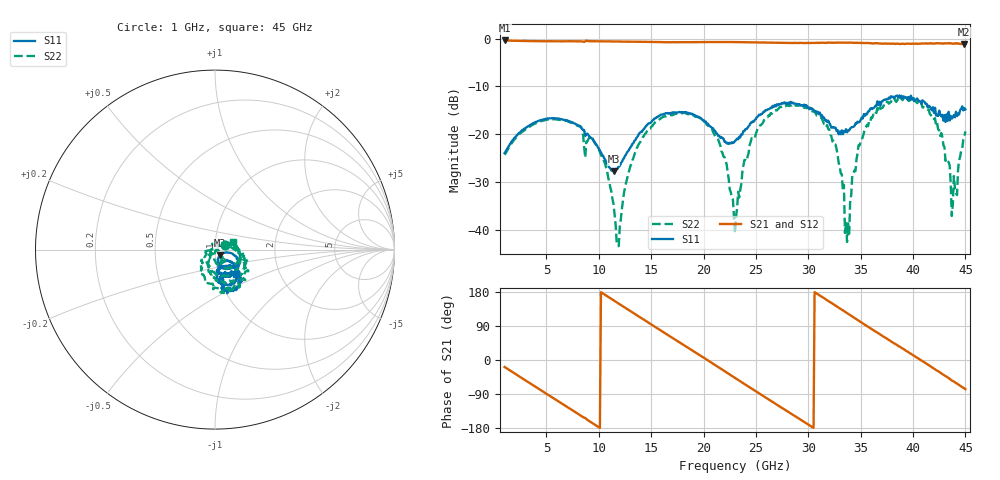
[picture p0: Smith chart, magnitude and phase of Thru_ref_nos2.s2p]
!Keysight Technologies,N5247B,MY61255062,A.19.80.06
!Date: Monday, May 18, 2026 12:27:11
!Correction: S11(Cdelta 2-Port  )
!S21(Cdelta 2-Port  )
!S12(Cdelta 2-Port  )
!S22(Cdelta 2-Port  )
!S2P File: Measurements: S11, S21, S12, S22:
# Hz S  dB  R 50
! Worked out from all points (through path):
!   441 points, 1 GHz to 45 GHz, reference 50 ohm
!   highest |S21| = -0.40 dB at 1 GHz (marker M1); lowest = -1.2 dB at 44.9 GHz (marker M2)
!   group delay of S21, straight-line fit = 49.1 ps
!   lowest |S11| = -27.7 dB at 11.4 GHz (marker M3), VSWR 1.09, Z = 52.8 - j3.15 ohm
!   |S11| at or under -10 dB: start of sweep to end of sweep
!   |S22| runs from -43.3 to -12.0 dB; largest |S21 - S12| = 0.015
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1e9  -23.89 25.6  -0.40 -18.4  -0.40 -18.4  -24.27 26.6
4.8e9  -16.85 -15.7  -0.57 -85.5  -0.57 -85.5  -17.07 -10.5
8.4e9  -18.88 -66.0  -0.60 -149.1  -0.60 -149.2  -18.91 -61.6
1.04e10  -24.47 -73.1  -0.58 175.4  -0.58 175.4  -25.00 -94.7
1.14e10  -27.73 -46.5  -0.61 157.6  -0.61 157.6  -34.55 -93.6
1.19e10  -26.63 -27.7  -0.63 148.7  -0.63 148.7  -43.35 -2.2
1.32e10  -22.04 -13.1  -0.66 125.9  -0.66 125.8  -25.45 27.0
1.57e10  -16.18 -31.5  -0.73 81.5  -0.73 81.5  -17.05 -10.3
1.84e10  -15.50 -62.7  -0.77 34.4  -0.76 34.4  -15.74 -56.6
2.06e10  -18.31 -79.1  -0.73 -4.4  -0.73 -4.4  -18.37 -100.3
2.2e10  -21.55 -70.3  -0.70 -29.3  -0.70 -29.3  -24.75 -134.4
2.3e10  -21.38 -50.3  -0.75 -47.3  -0.74 -47.3  -40.62 145.9
2.53e10  -15.90 -37.9  -0.83 -88.1  -0.83 -88.1  -18.32 9.1
3.04e10  -14.63 -81.5  -0.91 -177.3  -0.90 -177.3  -15.21 -86.6
3.26e10  -18.60 -81.4  -0.85 143.5  -0.85 143.5  -22.14 -122.0
3.37e10  -19.58 -61.8  -0.87 123.8  -0.85 123.8  -42.47 2.4
3.5e10  -16.95 -43.2  -0.92 100.2  -0.90 100.3  -21.43 16.7
3.77e10  -12.33 -56.2  -1.05 52.6  -1.07 52.8  -13.59 -36.2
4.19e10  -14.34 -80.6  -1.04 -21.0  -1.11 -21.0  -16.16 -119.8
4.39e10  -15.96 -62.3  -1.02 -56.8  -1.05 -57.3  -28.70 114.8
4.49e10  -14.52 -46.5  -1.16 -75.2  -1.11 -75.5  -20.47 25.3
4.5e10  -14.80 -49.0  -1.12 -76.8  -1.09 -77.3  -19.38 23.9
